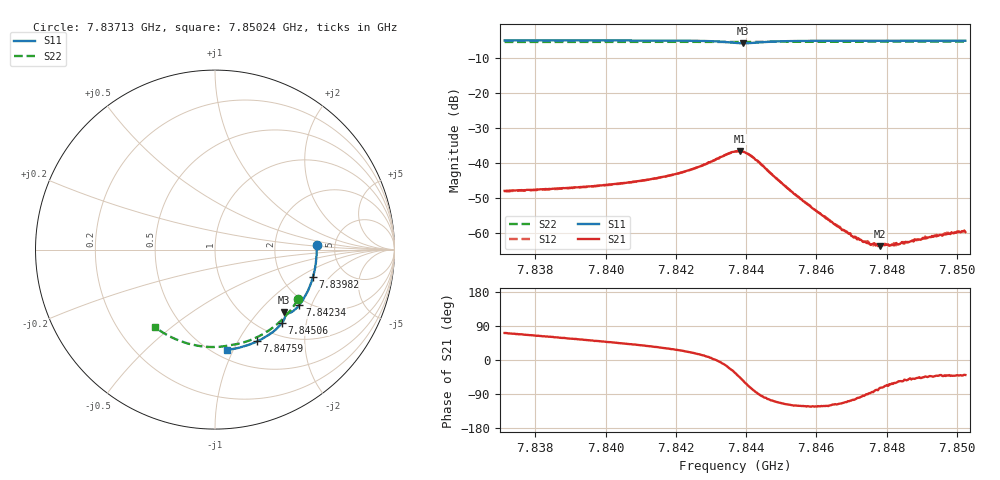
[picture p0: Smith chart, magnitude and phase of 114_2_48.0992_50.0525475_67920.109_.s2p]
#  HZ  S  RI  R  50.00
! Rohde & Schwarz Vector Network Analyzer
! Rohde-Schwarz,ZNB20-2Port,1311601062101988,3.16
! Created: UTC 12/23/2023, 3:46:05 AM
! freq[Hz]  re:S11  im:S11  re:S21  im:S21  re:S12  im:S12  re:S22  im:S22
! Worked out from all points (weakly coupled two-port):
!   401 points, 7.83713 GHz to 7.85024 GHz, reference 50 ohm
!   highest |S21| = -36.61 dB at 7.84382 GHz (marker M1); lowest = -63.8 dB at 7.84782 GHz (marker M2)
!   lowest |S11| = -5.7 dB at 7.84391 GHz (marker M3), VSWR 3.14, Z = 73.1 - j69.1 ohm
!   |S11| at or under -10 dB: nowhere
!   |S22| runs from -5.4 to -5.3 dB; largest |S21 - S12| = 0.0003
!   S11 on the Smith chart (normalised r, x): 7.83713 GHz: 3.59, +0.29; 7.83982 GHz: 2.97, -1.32; 7.84234 GHz: 1.82, -1.64; 7.84506 GHz: 1.25, -1.46; 7.84759 GHz: 0.81, -1.21; 7.85024 GHz: 0.58, -0.94
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7.837126e9  0.5657 0.0272  0.00127 0.00375  0.00131 0.00369  0.4627 -0.2778
7.839323e9  0.5544 -0.1184  0.00262 0.00366  0.00263 0.0036  0.3664 -0.3973
7.839815e9  0.5465 -0.1506  0.00305 0.00361  0.00302 0.00357  0.3404 -0.4199
7.840635e9  0.529 -0.2033  0.00385 0.00352  0.0038 0.00353  0.294 -0.454
7.841521e9  0.5029 -0.2586  0.00513 0.00337  0.00509 0.00339  0.2402 -0.4851
7.842341e9  0.4705 -0.308  0.0072 0.00286  0.00716 0.00288  0.1872 -0.5079
7.843193e9  0.4204 -0.3513  0.0115 -0.000436  0.0115 -0.000475  0.1296 -0.5248
7.843685e9  0.3865 -0.3533  0.0121 -0.00816  0.012 -0.00802  0.0967 -0.5303
7.843816e9  0.3826 -0.3495  0.0104 -0.0105  0.0103 -0.0104  0.0882 -0.5317
7.843915e9  0.3824 -0.347  0.0084 -0.0117  0.0084 -0.0118  0.0821 -0.5327
7.84421e9  0.3894 -0.3512  0.00208 -0.0116  0.00218 -0.0117  0.0633 -0.5363
7.845063e9  0.3748 -0.4063  -0.00208 -0.00441  -0.00209 -0.00443  0.00382 -0.5427
7.845882e9  0.3341 -0.4491  -0.0012 -0.0019  -0.00122 -0.00195  -0.0539 -0.5409
7.846998e9  0.2708 -0.4929  -0.000264 -0.000859  -0.000289 -0.000888  -0.1312 -0.5283
7.847391e9  0.2474 -0.5054  -3.43e-05 -0.000744  -2.26e-05 -0.000732  -0.158 -0.5213
7.847588e9  0.2353 -0.5113  6.85e-05 -0.000679  3.87e-05 -0.000672  -0.1713 -0.5171
7.847817e9  0.2212 -0.5174  0.000186 -0.000619  0.000192 -0.000622  -0.1865 -0.512
7.847981e9  0.2111 -0.5218  0.000258 -0.00063  0.00029 -0.000617  -0.1972 -0.508
7.84808e9  0.2051 -0.5242  0.000288 -0.000582  0.000252 -0.000588  -0.2037 -0.5055
7.848572e9  0.1741 -0.5354  0.000434 -0.000587  0.000435 -0.000591  -0.2354 -0.4918
7.84972e9  0.0998 -0.5537  0.000724 -0.000618  0.000749 -0.00066  -0.3055 -0.4523
7.850244e9  0.0653 -0.5585  0.000788 -0.000651  0.000816 -0.000676  -0.3353 -0.431
